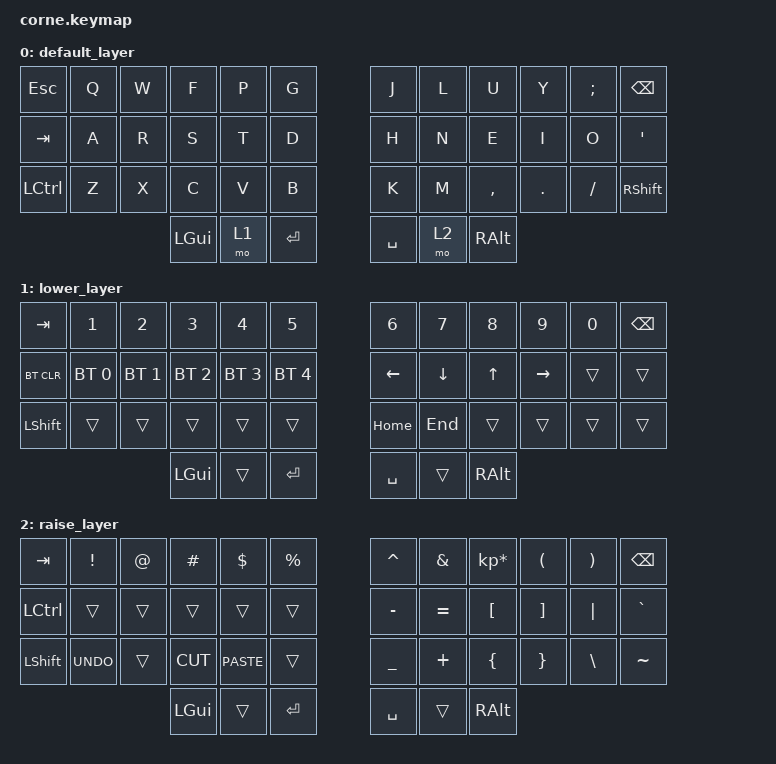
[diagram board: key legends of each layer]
/*
 * Copyright (c) 2020 The ZMK Contributors
 *
 * SPDX-License-Identifier: MIT
 */

#include <behaviors.dtsi>
#include <dt-bindings/zmk/keys.h>
#include <dt-bindings/zmk/bt.h>

/ {
        keymap {
                compatible = "zmk,keymap";

                default_layer {
// -----------------------------------------------------------------------------------------
// |  ESC |  Q  |  W  |  E  |  R  |  T  |   |  Y  |  U   |  I  |  O  |  P  | BKSP |
// | TAB |  A  |  S  |  D  |  F  |  G  |   |  H  |  J   |  K  |  L  |  ;  |  '   |
// | CTRL |  Z  |  X  |  C  |  V  |  B  |   |  N  |  M   |  ,  |  .  |  /  | Shift  |
//                    | GUI | LWR | ENT |   | SPC | RSE  | ALT |
                        bindings = <
   &kp ESC   &kp Q &kp W &kp F &kp P &kp G   &kp J &kp L  &kp U     &kp Y   &kp SEMI    &kp BSPC
   &kp TAB &kp A &kp R &kp S &kp T &kp D   &kp H &kp N  &kp E     &kp I   &kp O    &kp SQT
   &kp LCTRL &kp Z &kp X &kp C &kp V &kp B   &kp K &kp M  &kp COMMA &kp DOT &kp FSLH &kp RSHIFT
                  &kp LGUI &mo 1 &kp RET   &kp SPACE &mo 2 &kp RALT
                        >;
                };
                lower_layer {
// -----------------------------------------------------------------------------------------
// |  TAB |  1  |  2  |  3  |  4  |  5  |   |  6  |  7  |  8  |  9  |  0  | BKSP |
// | BTCLR| BT1 | BT2 | BT3 | BT4 | BT5 |   | LFT | DWN |  UP | RGT |     |      |
// | SHFT |     |     |     |     |     |   |     |     |     |     |     |      |
//                    | GUI |     | ENT |   | SPC |     | ALT |
                        bindings = <
   &kp TAB    &kp N1       &kp N2       &kp N3       &kp N4       &kp N5         &kp N6   &kp N7   &kp N8 &kp N9    &kp N0 &kp BSPC
   &bt BT_CLR &bt BT_SEL 0 &bt BT_SEL 1 &bt BT_SEL 2 &bt BT_SEL 3 &bt BT_SEL 4   &kp LEFT &kp DOWN &kp UP &kp RIGHT &trans &trans
   &kp LSHFT  &trans       &trans       &trans       &trans       &trans         &kp HOME &kp END &trans &trans    &trans &trans
                          	        &kp LGUI     &trans       &kp RET      &kp SPACE  &trans   &kp RALT
                        >; 
                };

                raise_layer {
// -----------------------------------------------------------------------------------------
// |  TAB |  !  |  @  |  #  |  $  |  %  |   |  ^  |  &  |  *  |  (  |  )  | BKSP |
// | CTRL |     |     |     |     |     |   |  -  |  =  |  [  |  ]  |  \  |  `   |
// | SHFT | UNDO|     | CUT |PASTE|     |   |  _  |  +  |  {  |  }  | "|" |  ~   |
//                    | GUI |     | ENT |   | SPC |     | ALT |
                        bindings = <
   &kp  TAB  &kp EXCL   &kp AT &kp HASH  &kp DLLR    &kp PRCNT   &kp CARET &kp AMPS  &kp KP_MULTIPLY &kp LPAR &kp RPAR &kp BSPC
   &kp LCTRL &trans     &trans &trans    &trans      &trans       &kp MINUS &kp EQUAL &kp LBKT        &kp RBKT &kp PIPE &kp GRAVE
   &kp LSHFT &kp K_UNDO &trans &kp K_CUT &kp K_PASTE &trans      &kp UNDER &kp PLUS  &kp LBRC        &kp RBRC &kp BSLH &kp TILDE
                    	       &kp LGUI  &trans      &kp RET     &kp SPC   &trans    &kp RALT
                        >;
                };
        };
};
